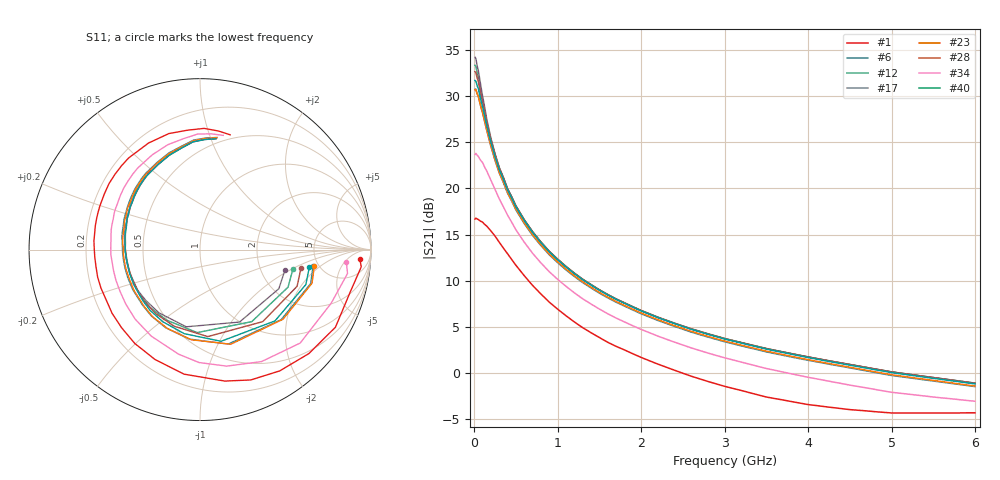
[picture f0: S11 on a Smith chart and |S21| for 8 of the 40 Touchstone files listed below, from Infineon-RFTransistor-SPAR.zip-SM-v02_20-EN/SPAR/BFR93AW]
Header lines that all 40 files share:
! Infineon Technologies  Discrete & RF Semiconductors
! BFR93AW
! Common Emitter S-Parameters:  Jan 2017
# GHz  S  MA  R  50
!  f  S11  S21  S12  S22
! GHz  MAG  ANG  MAG  ANG  MAG  ANG  MAG  ANG
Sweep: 10 MHz to 6 GHz
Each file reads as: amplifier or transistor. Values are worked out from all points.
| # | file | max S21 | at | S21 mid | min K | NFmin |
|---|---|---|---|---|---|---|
| 1 | BFR93AW_w_noise_VCE_7.0V_IC_2.0mA.s2p | 16.8 dB | 20 MHz | 1.0 dB at 2.2 GHz | -0.06 | 1.49 dB |
| 2 | BFR93AW_w_noise_VCE_7.0V_IC_5.0mA.s2p | 23.8 dB | 20 MHz | 3.9 dB at 2.2 GHz | -0.02 | 1.18 dB |
| 3 | BFR93AW_w_noise_VCE_7.0V_IC_10mA.s2p | 28.3 dB | 20 MHz | 5.2 dB at 2.2 GHz | -0.03 | 1.25 dB |
| 4 | BFR93AW_w_noise_VCE_7.0V_IC_11mA.s2p | 28.8 dB | 20 MHz | 5.3 dB at 2.2 GHz | -0.02 | 1.26 dB |
| 5 | BFR93AW_w_noise_VCE_7.0V_IC_15mA.s2p | 30.4 dB | 20 MHz | 5.6 dB at 2.2 GHz | 0.03 | 1.37 dB |
| 6 | BFR93AW_w_noise_VCE_7.0V_IC_16mA.s2p | 30.7 dB | 20 MHz | 5.7 dB at 2.2 GHz | 0.06 | 1.41 dB |
| 7 | BFR93AW_w_noise_VCE_7.0V_IC_18mA.s2p | 31.3 dB | 20 MHz | 5.8 dB at 2.2 GHz | 0.02 | 1.47 dB |
| 8 | BFR93AW_w_noise_VCE_7.0V_IC_20mA.s2p | 31.7 dB | 10 MHz | 5.9 dB at 2.2 GHz | 0.06 | 1.52 dB |
| 9 | BFR93AW_w_noise_VCE_7.0V_IC_23mA.s2p | 32.3 dB | 10 MHz | 6.0 dB at 2.2 GHz | 0.08 | 1.60 dB |
| 10 | BFR93AW_w_noise_VCE_7.0V_IC_24mA.s2p | 32.5 dB | 10 MHz | 6.0 dB at 2.2 GHz | 0.06 | 1.63 dB |
| 11 | BFR93AW_w_noise_VCE_7.0V_IC_25mA.s2p | 32.7 dB | 10 MHz | 6.0 dB at 2.2 GHz | 0.09 | 1.66 dB |
| 12 | BFR93AW_w_noise_VCE_7.0V_IC_30mA.s2p | 33.3 dB | 10 MHz | 6.0 dB at 2.2 GHz | 0.11 | 1.79 dB |
| 13 | BFR93AW_w_noise_VCE_7.0V_IC_32mA.s2p | 33.5 dB | 10 MHz | 6.1 dB at 2.2 GHz | 0.07 | 1.86 dB |
| 14 | BFR93AW_w_noise_VCE_7.0V_IC_33mA.s2p | 33.6 dB | 10 MHz | 6.1 dB at 2.2 GHz | 0.13 | 1.88 dB |
| 15 | BFR93AW_w_noise_VCE_7.0V_IC_36mA.s2p | 33.9 dB | 10 MHz | 6.1 dB at 2.2 GHz | 0.10 | 1.95 dB |
| 16 | BFR93AW_w_noise_VCE_7.0V_IC_38mA.s2p | 34.0 dB | 10 MHz | 6.0 dB at 2.2 GHz | 0.08 | 1.99 dB |
| 17 | BFR93AW_w_noise_VCE_7.0V_IC_40mA.s2p | 34.2 dB | 10 MHz | 6.0 dB at 2.2 GHz | 0.15 | 2.04 dB |
| 18 | BFR93AW_w_noise_VCE_8.0V_IC_2.0mA.s2p | 16.7 dB | 20 MHz | 1.0 dB at 2.2 GHz | 0.00 | 1.49 dB |
| 19 | BFR93AW_w_noise_VCE_8.0V_IC_5.0mA.s2p | 23.8 dB | 20 MHz | 4.0 dB at 2.2 GHz | -0.07 | 1.18 dB |
| 20 | BFR93AW_w_noise_VCE_8.0V_IC_10mA.s2p | 28.2 dB | 20 MHz | 5.3 dB at 2.2 GHz | -0.08 | 1.25 dB |
| 21 | BFR93AW_w_noise_VCE_8.0V_IC_11mA.s2p | 28.8 dB | 20 MHz | 5.4 dB at 2.2 GHz | -0.05 | 1.26 dB |
| 22 | BFR93AW_w_noise_VCE_8.0V_IC_15mA.s2p | 30.4 dB | 20 MHz | 5.7 dB at 2.2 GHz | 0.00 | 1.37 dB |
| 23 | BFR93AW_w_noise_VCE_8.0V_IC_16mA.s2p | 30.7 dB | 20 MHz | 5.8 dB at 2.2 GHz | 0.04 | 1.41 dB |
| 24 | BFR93AW_w_noise_VCE_8.0V_IC_18mA.s2p | 31.2 dB | 10 MHz | 5.9 dB at 2.2 GHz | 0.08 | 1.47 dB |
| 25 | BFR93AW_w_noise_VCE_8.0V_IC_20mA.s2p | 31.7 dB | 10 MHz | 6.0 dB at 2.2 GHz | 0.04 | 1.52 dB |
| 26 | BFR93AW_w_noise_VCE_8.0V_IC_23mA.s2p | 32.3 dB | 10 MHz | 6.0 dB at 2.2 GHz | 0.12 | 1.60 dB |
| 27 | BFR93AW_w_noise_VCE_8.0V_IC_24mA.s2p | 32.5 dB | 10 MHz | 6.0 dB at 2.2 GHz | 0.09 | 1.63 dB |
| 28 | BFR93AW_w_noise_VCE_8.0V_IC_25mA.s2p | 32.6 dB | 10 MHz | 6.1 dB at 2.2 GHz | 0.08 | 1.66 dB |
| 29 | BFR93AW_w_noise_VCE_8.0V_IC_30mA.s2p | 33.3 dB | 10 MHz | 6.1 dB at 2.2 GHz | 0.11 | 1.79 dB |
| 30 | BFR93AW_w_noise_VCE_8.0V_IC_32mA.s2p | 33.5 dB | 10 MHz | 6.1 dB at 2.2 GHz | 0.11 | 1.86 dB |
| 31 | BFR93AW_w_noise_VCE_8.0V_IC_33mA.s2p | 33.6 dB | 10 MHz | 6.1 dB at 2.2 GHz | 0.10 | 1.88 dB |
| 32 | BFR93AW_w_noise_VCE_8.0V_IC_36mA.s2p | 33.9 dB | 10 MHz | 6.1 dB at 2.2 GHz | 0.17 | 1.95 dB |
| 33 | BFR93AW_w_noise_VCE_9.0V_IC_2.0mA.s2p | 16.8 dB | 20 MHz | 1.1 dB at 2.2 GHz | -0.06 | 1.49 dB |
| 34 | BFR93AW_w_noise_VCE_9.0V_IC_5.0mA.s2p | 23.8 dB | 20 MHz | 4.0 dB at 2.2 GHz | 0.02 | 1.18 dB |
| 35 | BFR93AW_w_noise_VCE_9.0V_IC_10mA.s2p | 28.1 dB | 10 MHz | 5.3 dB at 2.2 GHz | 0.01 | 1.25 dB |
| 36 | BFR93AW_w_noise_VCE_9.0V_IC_11mA.s2p | 28.7 dB | 20 MHz | 5.4 dB at 2.2 GHz | 0.01 | 1.26 dB |
| 37 | BFR93AW_w_noise_VCE_9.0V_IC_15mA.s2p | 30.4 dB | 20 MHz | 5.8 dB at 2.2 GHz | 0.06 | 1.37 dB |
| 38 | BFR93AW_w_noise_VCE_9.0V_IC_16mA.s2p | 30.6 dB | 20 MHz | 5.8 dB at 2.2 GHz | -0.02 | 1.41 dB |
| 39 | BFR93AW_w_noise_VCE_9.0V_IC_18mA.s2p | 31.2 dB | 10 MHz | 5.9 dB at 2.2 GHz | 0.03 | 1.47 dB |
| 40 | BFR93AW_w_noise_VCE_9.0V_IC_20mA.s2p | 31.7 dB | 10 MHz | 6.0 dB at 2.2 GHz | 0.08 | 1.52 dB |

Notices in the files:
Hoja de datos/BFP 450/Infineon-RFTransistor-SPAR.zip-SM-v02_20-EN/SPAR/BFR93AW/BFR93AW_w_noise_VCE_7.0V_IC_10mA.s2p:
(c) 2017  Infineon Technologies AG, Munich
